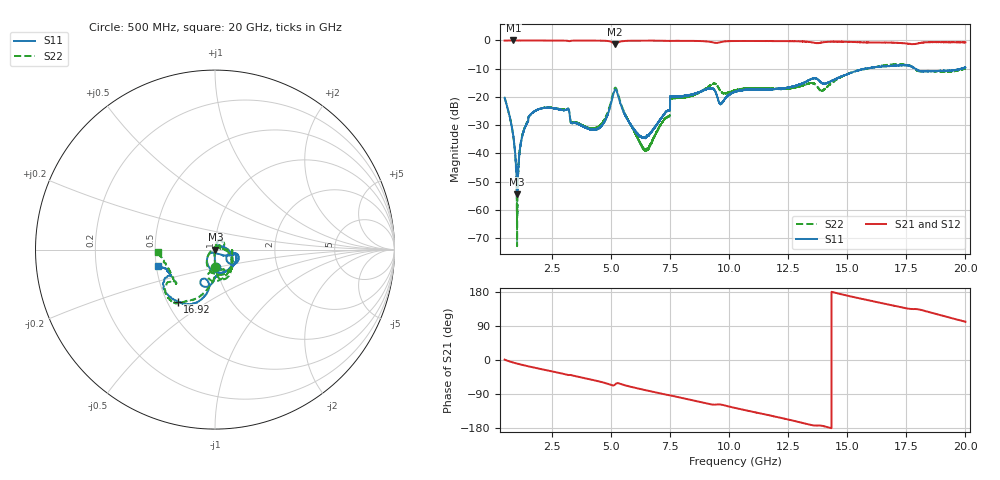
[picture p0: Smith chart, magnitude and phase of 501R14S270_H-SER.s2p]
!{501R14S270}
!Johanson Technology Inc.
!www.johansontechnology.com
!Test Board Conditions:
!Substrate Type  RO4350B
!Substrate Thickness  20 mil
!Substrate Dk  3.66
!TL Type: GCPW
!TL Trace Width  36 mil
!TL Gap  12 mil
!Electrode orientation  Horizontal
!DUT TOPOLOGY	SERIES
!Mounting Pad LxW  26x36 mil
! Created Wed Mar 11 16:06:05 2020
# mhz S ma R 50
! 2 Port Network Data from SP1.SP block
! freq  magS11  angS11  magS21  angS21  magS12  angS12  magS22  angS22
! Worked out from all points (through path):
!   19501 points, 500 MHz to 20 GHz, reference 50 ohm
!   highest |S21| = 0.00 dB at 871 MHz (marker M1); lowest = -1.4 dB at 5.182 GHz (marker M2)
!   group delay of S21, straight-line fit = 35.8 ps
!   lowest |S11| = -54.4 dB at 1.03 GHz (marker M3), VSWR 1.00, Z = 50.2 - j0.027 ohm
!   |S11| at or under -10 dB: start of sweep to 15.75 GHz; 17.87 GHz to 19.81 GHz (1.936 GHz wide, 10.3 % of centre); 19.80604 GHz to 19.81592 GHz (9.879 MHz wide, 0.0499 % of centre)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
!   |S22| runs from -72.8 to -8.4 dB; largest |S21 - S12| = 0.02
!   S11 on the Smith chart (normalised r, x): 500 MHz: 0.99, -0.19; 16.92 GHz: 0.57, -0.38; 20 GHz: 0.51, -0.11
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500  0.09677 -87.8  0.9932 1.1  0.9929 1.1  0.09716 -88.4
871  0.01982 -91.3  0.9995 -6.8  0.9975 -6.9  0.01947 -97.5
1030  0.001908 -8.1  0.9983 -9.5  0.9978 -9.5  0.0003235 117.6
1268  0.02199 72.3  0.9969 -13.2  0.998 -13.1  0.02217 77.5
1708  0.05375 68.2  0.996 -19.5  0.9962 -19.5  0.05341 71.8
3137  0.06044 44.1  0.9884 -38.8  0.9891 -38.8  0.06069 46.5
3750  0.03138 46.8  0.9949 -46.1  0.9951 -46.1  0.03242 35.8
4570  0.02991 38.5  0.9898 -57.7  0.9899 -57.6  0.03225 8.1
5182  0.1347 -61.4  0.8544 -64.3  0.855 -64.2  0.1462 -66.0
5766  0.03615 -142.9  0.9855 -69.5  0.9865 -69.5  0.03626 -149.3
6405  0.01924 -100.5  0.9892 -78.7  0.9915 -78.7  0.01212 138.8
7000  0.03529 -45.5  0.9903 -86.9  0.9912 -86.9  0.02714 37.4
7403  0.05728 -36.2  0.9813 -92.3  0.9814 -92.2  0.04442 4.8
7598  0.1013 -17.8  0.9821 -94.5  0.9828 -94.5  0.09547 -1.9
9245  0.1425 -26.2  0.9371 -117.3  0.9361 -117.2  0.1643 -61.8
9660  0.07501 -23.7  0.9407 -117.7  0.9411 -117.6  0.1236 -82.9
10250  0.123 -17.2  0.9766 -126.4  0.976 -126.4  0.1314 -61.4
13500  0.2084 -101.1  0.9237 -171.9  0.9288 -172.1  0.1762 -90.8
13948  0.1746 -111.8  0.9245 -173.9  0.9252 -173.8  0.1292 -97.4
16750  0.3511 -123.4  0.9161 146.3  0.9088 145.9  0.371 -126.2
16923  0.3562 -125.7  0.9124 144.0  0.9082 143.8  0.3748 -128.5
20000  0.3322 -163.7  0.9221 101.0  0.9241 101.3  0.3182 -177.2
